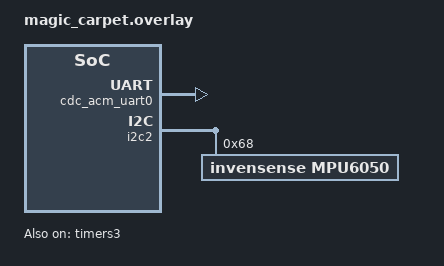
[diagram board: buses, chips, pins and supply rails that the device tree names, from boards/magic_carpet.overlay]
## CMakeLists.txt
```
cmake_minimum_required(VERSION 3.20.0)
find_package(Zephyr REQUIRED HINTS $ENV{ZEPHYR_BASE})
project(None)

FILE(GLOB app_sources src/*.cpp)
target_sources(app PRIVATE ${app_sources})
```

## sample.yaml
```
sample:
  name: MPU9250 sensor
tests:
  mpu6050:
    build_only: true
    platform_allow: magic_carpet
    tags: sensors
    integration_platforms:
      - magic_carpet
```

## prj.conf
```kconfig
#
# Copyright (c) 2019 Nordic Semiconductor ASA
#
# SPDX-License-Identifier: Apache-2.0
#

CONFIG_CPP=y
CONFIG_FLASH=y
CONFIG_FLASH_PAGE_LAYOUT=y
CONFIG_I2C=y
CONFIG_SENSOR=y
CONFIG_MPU6050_TRIGGER_NONE=y
CONFIG_CBPRINTF_FP_SUPPORT=y
CONFIG_STDOUT_CONSOLE=y
CONFIG_USB_DEVICE_STACK=y
CONFIG_USB_DEVICE_PRODUCT="Magic Carpet CDC ACM"
CONFIG_USB_DEVICE_PID=0x0001
CONFIG_USB_DEVICE_VID=0xf055
CONFIG_LOG=y
CONFIG_USB_DRIVER_LOG_LEVEL_ERR=y
CONFIG_USB_DEVICE_LOG_LEVEL_ERR=y
CONFIG_SERIAL=y
CONFIG_UART_INTERRUPT_DRIVEN=y
CONFIG_UART_LINE_CTRL=y
CONFIG_USB_CDC_ACM=y
CONFIG_USB_DEVICE_INITIALIZE_AT_BOOT=n
```

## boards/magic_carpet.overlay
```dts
&zephyr_udc0 {
    cdc_acm_uart0: cdc_acm_uart0 {
        compatible = "zephyr,cdc-acm-uart";
    };
};

/ {
    chosen {
        zephyr,console = &cdc_acm_uart0;
        zephyr,shell-uart = &cdc_acm_uart0;
    };
    aliases {
        qdec0 = &qdec;
    };
};

&timers3 {
    status = "okay";
        qdec: qdec {
        compatible = "st,stm32-qdec";
        status = "okay";
        pinctrl-0 = <&tim3_ch1_pa6 &tim3_ch2_pa7>;
        pinctrl-names = "default";
        st,input-polarity-inverted;
        st,counts-per-revolution = <16>;
    };
};

&i2c2 {
	mpu6050@68 {
		compatible = "invensense,mpu6050";
		reg = <0x68>;
		status = "okay";
	};
};
```

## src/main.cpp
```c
/*
 * Copyright (c) 2019 Nordic Semiconductor ASA
 *
 * SPDX-License-Identifier: Apache-2.0
 */

#include <zephyr/kernel.h>
#include <zephyr/device.h>
#include <zephyr/drivers/sensor.h>
#include <stdio.h>
#include <string.h>
#include <zephyr/drivers/uart.h>
#include <zephyr/sys/ring_buffer.h>
#include <math.h>

#include <zephyr/usb/usb_device.h>
#include <zephyr/usb/usbd.h>
#include <zephyr/logging/log.h>
#include "Kalman.h"

LOG_MODULE_REGISTER(cdc_acm_echo, LOG_LEVEL_INF);

#define RING_BUF_SIZE 1024
#define RAD_TO_DEG 57.29578
#define RESTRICT_PITCH
uint8_t ring_buffer[RING_BUF_SIZE];

struct ring_buf ringbuf;

double accX, accY, accZ;
double gyroX, gyroY, gyroZ;
double temp;

Kalman kalmanX;
Kalman kalmanY;
double kalAngleX, kalAngleY; // Calculated angle using a Kalman filter

static bool rx_throttled;

static const char *now_str(void)
{
	static char buf[16]; /* ...HH:MM:SS.MMM */
	uint32_t now = k_uptime_get_32();
	unsigned int ms = now % MSEC_PER_SEC;
	unsigned int s;
	unsigned int min;
	unsigned int h;

	now /= MSEC_PER_SEC;
	s = now % 60U;
	now /= 60U;
	min = now % 60U;
	now /= 60U;
	h = now;

	snprintf(buf, sizeof(buf), "%u:%02u:%02u.%03u",
			 h, min, s, ms);
	return buf;
}

static int process_mpu6050(const struct device *dev)
{
	struct sensor_value temperature;
	struct sensor_value accel[3];
	struct sensor_value gyro[3];
	int rc = sensor_sample_fetch(dev);

	if (rc == 0)
	{
		rc = sensor_channel_get(dev, SENSOR_CHAN_ACCEL_XYZ,
								accel);
	}
	if (rc == 0)
	{
		rc = sensor_channel_get(dev, SENSOR_CHAN_GYRO_XYZ,
								gyro);
	}
	if (rc == 0)
	{
		rc = sensor_channel_get(dev, SENSOR_CHAN_DIE_TEMP,
								&temperature);
	}

	accX = sensor_value_to_double(&accel[0]),
	accY = sensor_value_to_double(&accel[1]),
	accZ = sensor_value_to_double(&accel[2]),
	gyroX = sensor_value_to_double(&gyro[0]),
	gyroY = sensor_value_to_double(&gyro[1]),
	gyroZ = sensor_value_to_double(&gyro[2]);
	temp = sensor_value_to_double(&temperature);

	if (rc == 0)
	{
#ifdef DEBUG
		printf("[%s]:%g Cel"
			   "  accel %f %f %f m/s/s"
			   "  gyro  %f %f %f rad/s\n",
			   now_str(),
			   temp,
			   accX, accY, accZ,
			   gyroX, gyroY, gyroZ);
#endif
	}
	else
	{
		LOG_ERR("sample fetch/get failed: %d\n", rc);
	}

	return rc;
}

#ifdef CONFIG_MPU6050_TRIGGER
static struct sensor_trigger trigger;

static void handle_mpu6050_drdy(const struct device *dev,
								const struct sensor_trigger *trig)
{
	int rc = process_mpu6050(dev);

	if (rc != 0)
	{
		printf("cancelling trigger due to failure: %d\n", rc);
		(void)sensor_trigger_set(dev, trig, NULL);
		return;
	}
}
#endif /* CONFIG_MPU6050_TRIGGER */


static void interrupt_handler(const struct device *dev, void *user_data)
{
	ARG_UNUSED(user_data);

	while (uart_irq_update(dev) && uart_irq_is_pending(dev))
	{
		if (!rx_throttled && uart_irq_rx_ready(dev))
		{
			int recv_len, rb_len;
			uint8_t buffer[64];
			size_t len = MIN(ring_buf_space_get(&ringbuf),
							 sizeof(buffer));

			if (len == 0)
			{
				/* Throttle because ring buffer is full */
				uart_irq_rx_disable(dev);
				rx_throttled = true;
				continue;
			}

			recv_len = uart_fifo_read(dev, buffer, len);
			if (recv_len < 0)
			{
				LOG_ERR("Failed to read UART FIFO");
				recv_len = 0;
			};

			rb_len = ring_buf_put(&ringbuf, buffer, recv_len);
			if (rb_len < recv_len)
			{
				LOG_ERR("Drop %u bytes", recv_len - rb_len);
			}

			LOG_DBG("tty fifo -> ringbuf %d bytes", rb_len);
			if (rb_len)
			{
				uart_irq_tx_enable(dev);
			}
		}

		if (uart_irq_tx_ready(dev))
		{
			uint8_t buffer[64];
			int rb_len, send_len;

			rb_len = ring_buf_get(&ringbuf, buffer, sizeof(buffer));
			if (!rb_len)
			{
				LOG_DBG("Ring buffer empty, disable TX IRQ");
				uart_irq_tx_disable(dev);
				continue;
			}

			if (rx_throttled)
			{
				uart_irq_rx_enable(dev);
				rx_throttled = false;
			}

			send_len = uart_fifo_fill(dev, buffer, rb_len);
			if (send_len < rb_len)
			{
				LOG_ERR("Drop %d bytes", rb_len - send_len);
			}

			LOG_DBG("ringbuf -> tty fifo %d bytes", send_len);
		}
	}
}
int main(void)
{
	const struct device *usbdev;
	uint32_t baudrate, dtr = 0U;
	int ret;

	usbdev = DEVICE_DT_GET_ONE(zephyr_cdc_acm_uart);
	if (!device_is_ready(usbdev))
	{
		LOG_ERR("CDC ACM device not ready");
		return 0;
	}

	ret = usb_enable(NULL);

	if (ret != 0)
	{
		LOG_ERR("Failed to enable USB");
		return 0;
	}

	ring_buf_init(&ringbuf, sizeof(ring_buffer), ring_buffer);

	while (true)
	{
		uart_line_ctrl_get(usbdev, UART_LINE_CTRL_DTR, &dtr);
		if (dtr)
		{
			break;
		}
		else
		{
			/* Give CPU resources to low priority threads. */
			k_sleep(K_MSEC(100));
		}
	}

	/* They are optional, we use them to test the interrupt endpoint */
	ret = uart_line_ctrl_set(usbdev, UART_LINE_CTRL_DCD, 1);
	if (ret)
	{
		LOG_WRN("Failed to set DCD, ret code %d", ret);
	}

	ret = uart_line_ctrl_set(usbdev, UART_LINE_CTRL_DSR, 1);
	if (ret)
	{
		LOG_WRN("Failed to set DSR, ret code %d", ret);
	}

	/* Wait 100ms for the host to do all settings */
	k_msleep(100);

	ret = uart_line_ctrl_get(usbdev, UART_LINE_CTRL_BAUD_RATE, &baudrate);
	if (ret)
	{
		LOG_WRN("Failed to get baudrate, ret code %d", ret);
	}

	uart_irq_callback_set(usbdev, interrupt_handler);

	/* Enable rx interrupts */
	uart_irq_rx_enable(usbdev);

	const struct device *const mpu6050 = DEVICE_DT_GET_ONE(invensense_mpu6050);
	const struct device *const qdec = DEVICE_DT_GET(DT_ALIAS(qdec0));

	if (!device_is_ready(mpu6050))
	{
		LOG_WRN("Device %s is not ready\n", mpu6050->name);
		return 0;
	}

	if (!device_is_ready(qdec)) {
		LOG_WRN("Device qdec is not ready\n");
		return 0;
	}

#ifdef CONFIG_MPU6050_TRIGGER
	trigger = (struct sensor_trigger){
		.type = SENSOR_TRIG_DATA_READY,
		.chan = SENSOR_CHAN_ALL,
	};
	if (sensor_trigger_set(mpu6050, &trigger,
						   handle_mpu6050_drdy) < 0)
	{
		LOG_WRN("Cannot configure trigger\n");
		return 0;
	}
	printf("Configured for triggered sampling.\n");
#endif
	process_mpu6050(mpu6050);
#ifdef RESTRICT_PITCH // Eq. 25 and 26
	double roll = atan2(accY, accZ) * RAD_TO_DEG;
	double pitch = atan(-accX / sqrt(accY * accY + accZ * accZ)) * RAD_TO_DEG;
#else // Eq. 28 and 29
	double roll = atan(accY / sqrt(accX * accX + accZ * accZ)) * RAD_TO_DEG;
	double pitch = atan2(-accX, accZ) * RAD_TO_DEG;
#endif
	kalmanX.setAngle(roll); // Set starting angle
	kalmanY.setAngle(pitch);

	uint32_t start_cycles, end_cycles, delta_cycles;
	uint64_t delta_time_us;
	double dt;
	double gyroXrate, gyroYrate;

	start_cycles = k_cycle_get_32();
	while (!IS_ENABLED(CONFIG_MPU6050_TRIGGER))
	{
		end_cycles = k_cycle_get_32();
		delta_cycles = end_cycles - start_cycles;
		delta_time_us = k_cyc_to_us_floor64(delta_cycles);
		dt = (double)delta_time_us / 1000000.0;
		start_cycles = k_cycle_get_32();
		int rc = process_mpu6050(mpu6050);

		if (rc != 0)
		{
			break;
		}
#ifdef RESTRICT_PITCH // Eq. 25 and 26
		roll = atan2(accY, accZ) * RAD_TO_DEG;
		pitch = atan(-accX / sqrt(accY * accY + accZ * accZ)) * RAD_TO_DEG;
#else // Eq. 28 and 29
		roll = atan(accY / sqrt(accX * accX + accZ * accZ)) * RAD_TO_DEG;
		pitch = atan2(-accX, accZ) * RAD_TO_DEG;
#endif
		gyroXrate = gyroX / 131.0; // Convert to deg/s
		gyroYrate = gyroY / 131.0; // Convert to deg/s

#ifdef RESTRICT_PITCH
		// This fixes the transition problem when the accelerometer angle jumps between -180 and 180 degrees
		if ((roll < -90 && kalAngleX > 90) || (roll > 90 && kalAngleX < -90))
		{
			kalmanX.setAngle(roll);
			kalAngleX = roll;
		}
		else
			kalAngleX = kalmanX.getAngle(roll, gyroXrate, dt); // Calculate the angle using a Kalman filter

		if (abs(kalAngleX) > 90)
			gyroYrate = -gyroYrate; // Invert rate, so it fits the restriced accelerometer reading
		kalAngleY = kalmanY.getAngle(pitch, gyroYrate, dt);
#else
		// This fixes the transition problem when the accelerometer angle jumps between -180 and 180 degrees
		if ((pitch < -90 && kalAngleY > 90) || (pitch > 90 && kalAngleY < -90))
		{
			kalmanY.setAngle(pitch);
			kalAngleY = pitch;
		}
		else
			kalAngleY = kalmanY.getAngle(pitch, gyroYrate, dt); // Calculate the angle using a Kalman filter

		if (abs(kalAngleY) > 90)
			gyroXrate = -gyroXrate;						   // Invert rate, so it fits the restriced accelerometer reading
		kalAngleX = kalmanX.getAngle(roll, gyroXrate, dt); // Calculate the angle using a Kalman filter
#endif

		printf(" Angle X: %f\tAngle Y: %f\n", kalAngleX, kalAngleY);
		// printf("%f\n", kalAngleY);


		// struct sensor_value val;
		// rc = sensor_sample_fetch(qdec);
		// if (rc != 0) {
		// 	printf("Failed to fetch sample (%d)\n", rc);
		// 	return 0;
		// }

		// rc = sensor_channel_get(qdec, SENSOR_CHAN_ROTATION, &val);
		// if (rc != 0) {
		// 	printf("Failed to get data (%d)\n", rc);
		// 	return 0;
		// }

		// printf("Position = %d degrees\n", val.val1);

		k_sleep(K_MSEC(100));
	}

	/* triggered runs with its own thread after exit */
	return 0;
}
```
